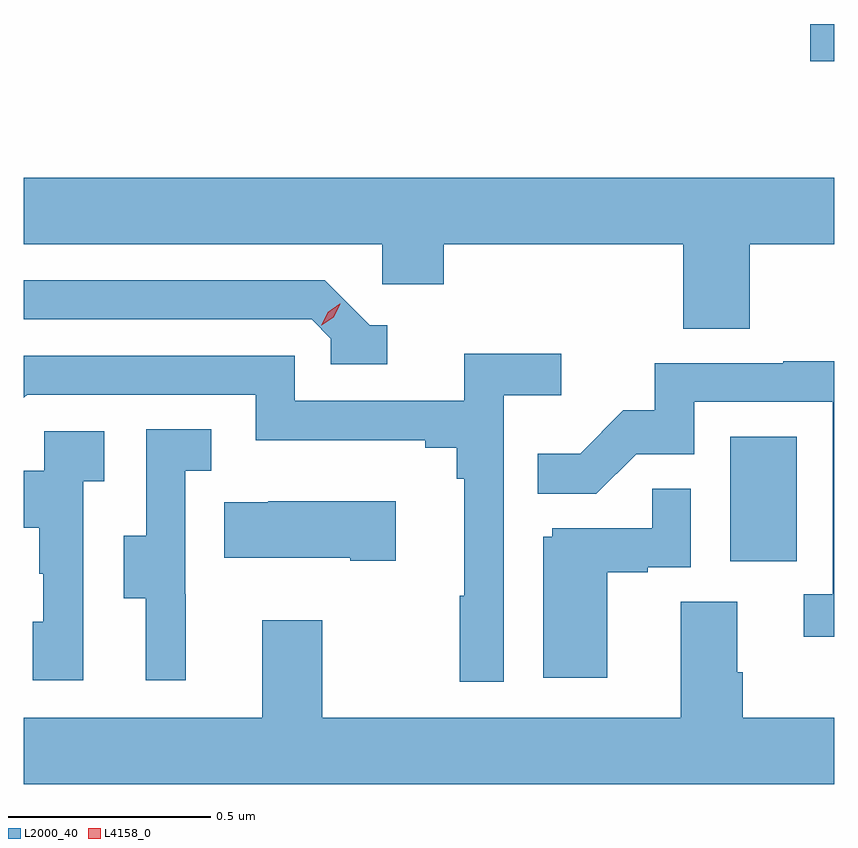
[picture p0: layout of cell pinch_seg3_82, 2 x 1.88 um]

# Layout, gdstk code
import gdstk
lib = gdstk.Library(unit=1e-6, precision=1e-09)
def R(c, l, rs):  # rectangles x0, y0, x1, y1
    for r in rs: c.add(gdstk.rectangle(r[:2], r[2:], *l))
def P(c, l, *ps):  # polygons
    for p in ps: c.add(gdstk.Polygon(p, *l))
L2000_40 = (2000, 40)
L4158_0 = (4158, 0)

pinch_seg3_82 = lib.new_cell('pinch_seg3_82')
R(pinch_seg3_82, L2000_40, [(1033.826,721.446,1033.99,721.753), (1034.023,722.68,1034.082,722.772)])
P(pinch_seg3_82, L2000_40, [(1033.874,722.228),(1034.082,722.228),(1034.082,722.392),(1032.082,722.392),(1032.082,722.228),(1032.966,722.228),(1032.966,722.13),(1033.118,722.13),(1033.118,722.228),(1033.709,722.228),(1033.709,722.02),(1033.874,722.02)],
  [(1032.979,722.028),(1032.936,722.028),(1032.825,722.139),(1032.082,722.139),(1032.082,722.043),(1032.792,722.043),(1032.84,721.995),(1032.84,721.932),(1032.979,721.932)],
  [(1033.266,721.856),(1033.408,721.856),(1033.408,721.958),(1033.169,721.958),(1033.169,721.842),(1032.75,721.842),(1032.75,721.953),(1032.082,721.953),(1032.082,721.849),(1032.09,721.857),(1032.654,721.857),(1032.654,721.745),(1033.073,721.745),(1033.073,721.726),(1033.15,721.726),(1033.15,721.649),(1033.169,721.649),(1033.169,721.361),(1033.158,721.361),(1033.158,721.149),(1033.266,721.149)],
  [(1034.082,721.94),(1033.957,721.94),(1033.957,721.935),(1033.639,721.935),(1033.639,721.818),(1033.562,721.818),(1033.455,721.711),(1033.351,721.711),(1033.351,721.612),(1033.495,721.612),(1033.593,721.71),(1033.737,721.71),(1033.737,721.839),(1034.079,721.839),(1034.079,721.365),(1034.007,721.365),(1034.007,721.26),(1034.082,721.26)],
  [(1032.482,721.365),(1032.48,721.365),(1032.48,721.669),(1032.544,721.669),(1032.544,721.772),(1032.384,721.772),(1032.384,721.509),(1032.329,721.509),(1032.329,721.354),(1032.383,721.354),(1032.383,721.152),(1032.482,721.152)],
  [(1032.228,721.643),(1032.28,721.643),(1032.28,721.767),(1032.132,721.767),(1032.132,721.669),(1032.082,721.669),(1032.082,721.529),(1032.12,721.529),(1032.12,721.415),(1032.13,721.415),(1032.13,721.296),(1032.104,721.296),(1032.104,721.152),(1032.228,721.152)],
  [(1033.522,721.419),(1033.622,721.419),(1033.622,721.431),(1033.728,721.431),(1033.728,721.625),(1033.633,721.625),(1033.633,721.527),(1033.386,721.527),(1033.386,721.506),(1033.364,721.506),(1033.364,721.158),(1033.522,721.158)],
  [(1033,721.594),(1032.685,721.594),(1032.685,721.591),(1032.577,721.591),(1032.577,721.454),(1032.887,721.454),(1032.887,721.447),(1033,721.447)],
  [(1034.082,721.06),(1033.856,721.06),(1033.856,721.172),(1033.843,721.172),(1033.843,721.346),(1033.703,721.346),(1033.703,721.06),(1032.819,721.06),(1032.819,721.3),(1032.671,721.3),(1032.671,721.06),(1032.082,721.06),(1032.082,720.896),(1034.082,720.896)])
P(pinch_seg3_82, L4158_0, [(1032.816,722.028),(1032.816,722.029),(1032.832,722.061),(1032.862,722.081),(1032.863,722.081),(1032.863,722.081),(1032.847,722.048),(1032.817,722.028)])

lib.write_gds('pinch_seg3_82.gds')
